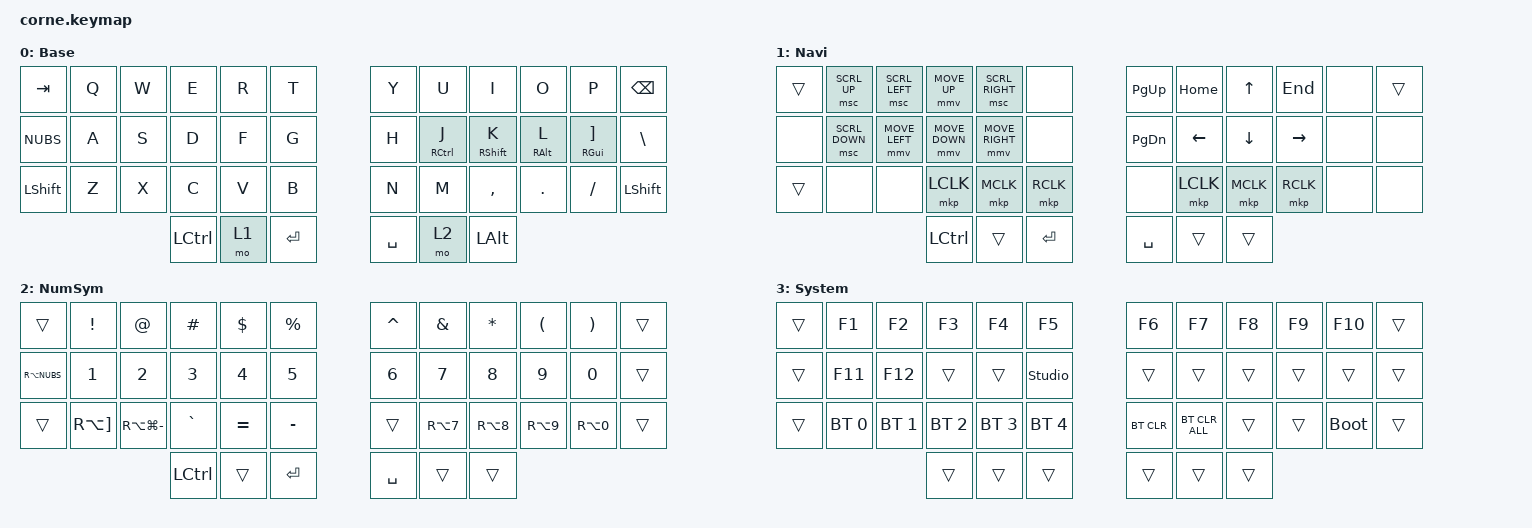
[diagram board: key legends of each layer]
#include <behaviors.dtsi>
#include <dt-bindings/zmk/bt.h>
#include <dt-bindings/zmk/keys.h>
#define ZMK_POINTING_DEFAULT_MOVE_VAL 1000  // default: 600
#define ZMK_POINTING_DEFAULT_SCRL_VAL 20    // default: 10
#include <dt-bindings/zmk/pointing.h>


#define DEF 0
#define NAV 1
#define SYM 2
#define ADJ 3
#define EXTRA 4

#define COMBO(NAME, BINDINGS, KEYPOS) \
    combo_##NAME { \
        timeout-ms = <50>; \
        bindings = <BINDINGS>; \
        key-positions = <KEYPOS>; \
        layers = <0>; \
        };


//Row 0:      0   1   2   3   4   5    6   7   8   9  10  11
//Row 1:     12  13  14  15  16  17   18  19  20  21  22  23
//Row 2:     24  25  26  27  28  29   30  31  32  33  34  35
//Thumb:         36    37   38         39    40    41     

/ {

        combos {
    compatible = "zmk,combos";
        COMBO(ue, &kp LBKT, 7 3)
        COMBO(ae, &kp SQT, 13 3)
        COMBO(oe, &kp SEMI, 9 3)
        COMBO(win,&kp RGUI, 40 41)
        COMBO(esc,&kp ESC, 0 1)
        COMBO(esc2,&kp ESC, 16 19)
        COMBO(delte,&kp DEL, 10 11)
        COMBO(at,&kp LA(LC(Q)), 1 13)
    }; //The first parameter is just an internal name, the second one the keypress we want to execute during the combo, and the last one is for the key positions.


    behaviors {
        // not used now, but I want to keep it here for future use
        td0: tap_dance_0 {
            compatible = "zmk,behavior-tap-dance";
            #binding-cells = <0>;
            tapping-term-ms = <200>;
            bindings = <&kp LSHFT>, <&caps_word>;
        };

        ht: hold_tap {
            compatible = "zmk,behavior-hold-tap";
            flavor = "balanced";
            tapping-term-ms = <300>;
            label = "HOLD_TAP";
            #binding-cells = <2>;
            bindings = <&kp>, <&kp>;
        };
        hm: homerow_mods {
            compatible = "zmk,behavior-hold-tap";
            label = "HOMEROW_MODS";
            #binding-cells = <2>;
            tapping-term-ms = <200>;
            quick_tap_ms = <0>;
            flavor = "tap-preferred";
            bindings = <&kp>, <&kp>;
            quick-tap-ms = <180>;
            global-quick-tap;
        };
    };

keymap {
    compatible = "zmk,keymap";

DEF {
    display-name = "Base";
    bindings = <
&kp TAB          &kp Q       &kp W      &kp E       &kp R   &kp T                                   &kp Y       &kp U         &kp I          &kp O          &kp P           &kp BACKSPACE
&kp NUBS         &kp A       &kp S      &kp D       &kp F   &kp G                                   &kp H       &hm RCTRL J   &hm RSHFT K    &hm RALT L     &hm RGUI RBKT   &kp BSLH
&kp LSHFT            &kp Z       &kp X      &kp C       &kp V   &kp B                                   &kp N       &kp M         &kp COMMA      &kp DOT        &kp FSLH        &kp LSHFT
                                        &kp LCTRL   &mo 1   &kp RET                                 &kp SPACE   &mo 2         &kp LEFT_ALT
            >;
        };

        NAV {
            display-name = "Navi";
            bindings = <
&trans      &msc SCRL_UP    &msc SCRL_LEFT      &mmv MOVE_UP    &msc SCRL_RIGHT &none                &kp PG_UP        &kp HOME        &kp UP      &kp END     &none      &trans
&none      &msc SCRL_DOWN   &mmv MOVE_LEFT      &mmv MOVE_DOWN  &mmv MOVE_RIGHT &none                &kp PG_DN        &kp LEFT        &kp DOWN    &kp RIGHT   &none      &none
&trans     &none            &none               &mkp LCLK       &mkp MCLK       &mkp RCLK             &none          &mkp LCLK        &mkp MCLK   &mkp RCLK   &none      &none
                                                    &kp LCTRL       &trans          &kp RET               &kp SPACE        &trans          &trans
            >;
        };

        SYM {
            display-name = "NumSym";
            bindings = <
&trans                          &kp EXCLAMATION  &kp AT_SIGN         &kp HASH    &kp DOLLAR    &kp PERCENT                      &kp CARET          &kp AMPERSAND         &kp ASTERISK      &kp LEFT_PARENTHESIS    &kp RIGHT_PARENTHESIS     &trans
&kp RA(NUBS)       &kp N1           &kp N2              &kp N3      &kp N4        &kp N5                           &kp N6             &kp N7                &kp N8            &kp N9                  &kp N0                    &trans
&trans   &kp RA(RIGHT_BRACKET)       &kp RA(LG(MINUS))   &kp GRAVE   &kp EQUAL                        &kp MINUS           &trans        &kp RA(N7)        &kp RA(N8)    &kp RA(N9)          &kp RA(N0)            &trans
                                                                &kp LCTRL        &trans      &kp RET                            &kp SPACE      &trans        &trans
            >;
        };

ADJ {
    display-name = "System";
    bindings = <
&trans  &kp F1        &kp F2        &kp F3        &kp F4        &kp F5                      &kp F6      &kp F7            &kp F8  &kp F9  &kp F10         &trans
&trans  &kp F11       &kp F12       &trans        &trans        &studio_unlock              &trans      &trans            &trans  &trans  &trans          &trans
&trans  &bt BT_SEL 0  &bt BT_SEL 1  &bt BT_SEL 2  &bt BT_SEL 3  &bt BT_SEL 4                      &bt BT_CLR  &bt BT_CLR_ALL    &trans  &trans  &bootloader     &trans
                                    &trans        &trans        &trans                      &trans      &trans            &trans
            >;
        };
    };

    conditional_layers {
        compatible = "zmk,conditional-layers";

        l3 {
            if-layers = <1 2>;
            then-layer = <3>;
        };
    };
};
